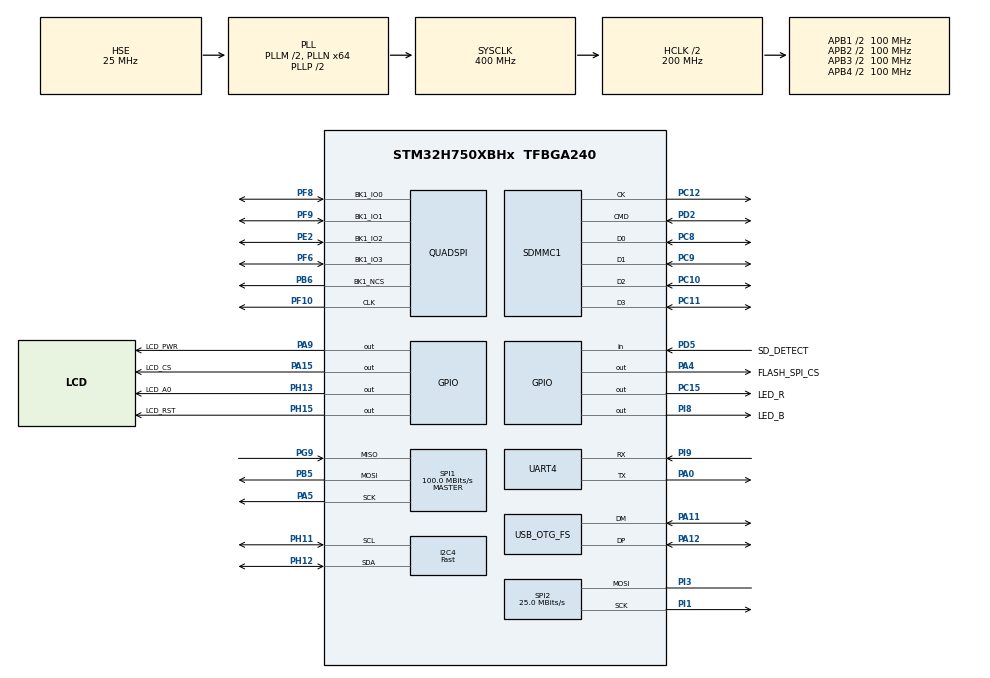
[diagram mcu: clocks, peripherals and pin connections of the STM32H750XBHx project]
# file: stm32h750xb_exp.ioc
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ADC3.Channel-0\#ChannelRegularConversion=ADC_CHANNEL_TEMPSENSOR
ADC3.NbrOfConversionFlag=1
ADC3.OffsetNumber-0\#ChannelRegularConversion=ADC_OFFSET_NONE
ADC3.OffsetSignedSaturation-0\#ChannelRegularConversion=DISABLE
ADC3.Rank-0\#ChannelRegularConversion=1
ADC3.SamplingTime-0\#ChannelRegularConversion=ADC_SAMPLETIME_1CYCLE_5
CORTEX_M7.CPU_DCache=Disabled
CORTEX_M7.CPU_ICache=Disabled
DMA2D.ColorMode=DMA2D_OUTPUT_RGB565
I2C4.CustomTiming=Disabled
I2C4.I2C_Speed_Mode=I2C_Fast
I2C4.Timing=0x009034B6
JPEG.JPEG_RGB_FORMAT=JPEG_RGB565
Mcu.Family=STM32H7
Mcu.Name=STM32H750XBHx
Mcu.Package=TFBGA240
NVIC.PriorityGroup=NVIC_PRIORITYGROUP_4
PA0.GPIO_Speed=GPIO_SPEED_FREQ_VERY_HIGH
PA0.Mode=Asynchronous
PA0.Signal=UART4_TX
PA11.GPIO_Speed=GPIO_SPEED_FREQ_VERY_HIGH
PA11.Mode=Device_Only
PA11.Signal=USB_OTG_FS_DM
PA12.GPIO_Speed=GPIO_SPEED_FREQ_VERY_HIGH
PA12.Mode=Device_Only
PA12.Signal=USB_OTG_FS_DP
PA13\ (JTMS/SWDIO).Mode=Serial_Wire
PA13\ (JTMS/SWDIO).Signal=DEBUG_JTMS-SWDIO
PA14\ (JTCK/SWCLK).Mode=Serial_Wire
PA14\ (JTCK/SWCLK).Signal=DEBUG_JTCK-SWCLK
PA15\ (JTDI).GPIO_Label=LCD_CS
PA15\ (JTDI).GPIO_Speed=GPIO_SPEED_FREQ_HIGH
PA15\ (JTDI).PinState=GPIO_PIN_SET
PA15\ (JTDI).Signal=GPIO_Output
PA4.GPIO_Label=FLASH_SPI_CS
PA4.PinState=GPIO_PIN_SET
PA4.Signal=GPIO_Output
PA5.GPIO_Speed=GPIO_SPEED_FREQ_VERY_HIGH
PA5.Mode=Full_Duplex_Master
PA5.Signal=SPI1_SCK
PA9.GPIO_Label=LCD_PWR
PA9.Signal=GPIO_Output
PB5.GPIO_Speed=GPIO_SPEED_FREQ_VERY_HIGH
PB5.Mode=Full_Duplex_Master
PB5.Signal=SPI1_MOSI
PB6.Mode=Single Bank 1
PB6.Signal=QUADSPI_BK1_NCS
PC10.Mode=SD_4_bits_Wide_bus
PC10.Signal=SDMMC1_D2
PC11.Mode=SD_4_bits_Wide_bus
PC11.Signal=SDMMC1_D3
PC12.Mode=SD_4_bits_Wide_bus
PC12.Signal=SDMMC1_CK
PC14-OSC32_IN\ (OSC32_IN).Mode=LSE-External-Clock-Source
PC14-OSC32_IN\ (OSC32_IN).Signal=RCC_OSC32_IN
PC15-OSC32_OUT\ (OSC32_OUT).GPIO_Label=LED_R
PC15-OSC32_OUT\ (OSC32_OUT).GPIO_ModeDefaultOutputPP=GPIO_MODE_OUTPUT_PP
PC15-OSC32_OUT\ (OSC32_OUT).GPIO_PuPd=GPIO_PULLUP
PC15-OSC32_OUT\ (OSC32_OUT).PinState=GPIO_PIN_SET
PC15-OSC32_OUT\ (OSC32_OUT).Signal=GPIO_Output
PC8.Mode=SD_4_bits_Wide_bus
PC8.Signal=SDMMC1_D0
PC9.Mode=SD_4_bits_Wide_bus
PC9.Signal=SDMMC1_D1
PD2.Mode=SD_4_bits_Wide_bus
PD2.Signal=SDMMC1_CMD
PD5.GPIO_Label=SD_DETECT
PD5.GPIO_PuPd=GPIO_PULLUP
PD5.Signal=GPIO_Input
PE2.Mode=Single Bank 1
PE2.Signal=QUADSPI_BK1_IO2
PF10.Mode=Single Bank 1
PF10.Signal=QUADSPI_CLK
PF6.Mode=Single Bank 1
PF6.Signal=QUADSPI_BK1_IO3
PF8.Mode=Single Bank 1
PF8.Signal=QUADSPI_BK1_IO0
PF9.Mode=Single Bank 1
PF9.Signal=QUADSPI_BK1_IO1
PG9.GPIO_Speed=GPIO_SPEED_FREQ_VERY_HIGH
PG9.Mode=Full_Duplex_Master
PG9.Signal=SPI1_MISO
PH0-OSC_IN\ (PH0).Mode=HSE-External-Oscillator
PH0-OSC_IN\ (PH0).Signal=RCC_OSC_IN
PH1-OSC_OUT\ (PH1).Mode=HSE-External-Oscillator
PH1-OSC_OUT\ (PH1).Signal=RCC_OSC_OUT
PH11.GPIO_Pu=GPIO_PULLUP
PH11.GPIO_Speed=GPIO_SPEED_FREQ_VERY_HIGH
PH11.Mode=I2C
PH11.Signal=I2C4_SCL
PH12.GPIO_Pu=GPIO_PULLUP
PH12.GPIO_Speed=GPIO_SPEED_FREQ_VERY_HIGH
PH12.Mode=I2C
PH12.Signal=I2C4_SDA
PH13.GPIO_Label=LCD_A0
PH13.GPIO_Speed=GPIO_SPEED_FREQ_VERY_HIGH
PH13.PinState=GPIO_PIN_SET
PH13.Signal=GPIO_Output
PH15.GPIO_Label=LCD_RST
PH15.PinState=GPIO_PIN_SET
PH15.Signal=GPIO_Output
PI1.GPIO_Speed=GPIO_SPEED_FREQ_VERY_HIGH
PI1.Mode=Simplex_Bidirectional_Master
PI1.Signal=SPI2_SCK
PI3.GPIO_Speed=GPIO_SPEED_FREQ_VERY_HIGH
PI3.Mode=Simplex_Bidirectional_Master
PI3.Signal=SPI2_MOSI
PI8.GPIO_Label=LED_B
PI8.GPIO_PuPd=GPIO_PULLUP
PI8.PinState=GPIO_PIN_SET
PI8.Signal=GPIO_Output
PI9.GPIO_Speed=GPIO_SPEED_FREQ_VERY_HIGH
PI9.Mode=Asynchronous
PI9.Signal=UART4_RX
ProjectManager.HeapSize=0x400
ProjectManager.StackSize=0x400
ProjectManager.TargetToolchain=Makefile
RCC.ADCCLockSelection=RCC_ADCCLKSOURCE_PLL3
RCC.ADCFreq_Value=75000000
RCC.APB1Freq_Value=100000000
RCC.APB2Freq_Value=100000000
RCC.APB3Freq_Value=100000000
RCC.APB4Freq_Value=100000000
RCC.CortexFreq_Value=400000000
RCC.D1PPRE=RCC_APB3_DIV2
RCC.D2PPRE1=RCC_APB1_DIV2
RCC.D2PPRE2=RCC_APB2_DIV2
RCC.D3PPRE=RCC_APB4_DIV2
RCC.DIVM1=2
RCC.DIVM2=5
RCC.DIVM3=2
RCC.DIVN1=64
RCC.DIVN2=32
RCC.DIVN3=12
RCC.DIVQ1=4
RCC.DIVQ2=1
RCC.DIVR1=20
RCC.DIVR2=1
RCC.FLatency=FLASH_LATENCY_2
RCC.HCLKFreq_Value=200000000
RCC.HPRE=RCC_HCLK_DIV2
RCC.HSE_Timout=1000
RCC.PLL2FRACN=0
RCC.PLL3FRACN=0
RCC.PLLFRACN=0
RCC.PLLSourceVirtual=RCC_PLLSOURCE_HSE
RCC.SYSCLKFreq_VALUE=400000000
RCC.SYSCLKSource=RCC_SYSCLKSOURCE_PLLCLK
RCC.USBCLockSelection=RCC_USBCLKSOURCE_HSI48
RCC.USBFreq_Value=48000000
SPI1.BaudRatePrescaler=SPI_BAUDRATEPRESCALER_2
SPI1.CalculateBaudRate=100.0 MBits/s
SPI1.DataSize=SPI_DATASIZE_8BIT
SPI1.Direction=SPI_DIRECTION_2LINES
SPI1.FifoThreshold=SPI_FIFO_THRESHOLD_01DATA
SPI1.Mode=SPI_MODE_MASTER
SPI1.NSSPMode=SPI_NSS_PULSE_DISABLE
SPI1.VirtualType=VM_MASTER
SPI2.BaudRatePrescaler=SPI_BAUDRATEPRESCALER_8
SPI2.CalculateBaudRate=25.0 MBits/s
SPI2.DataSize=SPI_DATASIZE_8BIT
SPI2.Direction=SPI_DIRECTION_1LINE
SPI2.FifoThreshold=SPI_FIFO_THRESHOLD_01DATA
SPI2.Mode=SPI_MODE_MASTER
SPI2.NSSPMode=SPI_NSS_PULSE_DISABLE
SPI2.VirtualType=VM_MASTER
UART4.FIFOMode=FIFOMODE_DISABLE
USB_OTG_FS.VirtualMode=Device_Only
VP_ADC3_TempSens_Input.Mode=IN-TempSens
VP_DMA2D_VS_DMA2D.Mode=DMA2D_Activate
VP_JPEG_VS_JPEG.Mode=JPEG_Activate
board=custom

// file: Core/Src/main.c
/* USER CODE BEGIN Header */
/**
  ******************************************************************************
  * @file           : main.c
  * @brief          : Main program body
  ******************************************************************************
  * @attention
  *
  * <h2><center>&copy; Copyright (c) 2023 STMicroelectronics.
  * All rights reserved.</center></h2>
  *
  * This software component is licensed by ST under Ultimate Liberty license
  * SLA0044, the "License"; You may not use this file except in compliance with
  * the License. You may obtain a copy of the License at:
  *                             www.st.com/SLA0044
  *
  ******************************************************************************
  */
/* USER CODE END Header */
#include "main.h"
#include "adc.h"
#include "dma2d.h"
#include "i2c.h"
#include "jpeg.h"
#include "quadspi.h"
#include "sdmmc.h"
#include "spi.h"
#include "usart.h"
#include "usb_otg.h"
#include "gpio.h"

/* USER CODE BEGIN Includes */
#include <stdio.h>
#include <string.h>
#include "led.h"
#include "dbg_output.h"
#include "st7735.h"
//#include "wireless.h"

/* USER CODE END Includes */

/* USER CODE BEGIN PM */

#define FLASH_CS_UNSELECT()   (FLASH_SPI_CS_GPIO_Port->BSRR = (FLASH_SPI_CS_Pin))
#define FLASH_CS_SELECT()     (FLASH_SPI_CS_GPIO_Port->BSRR = (FLASH_SPI_CS_Pin << 16))

/* USER CODE END PM */

/* USER CODE BEGIN PV */

uint8_t data[10] = {0x0};
/* USER CODE END PV */

void SystemClock_Config(void);

int main(void)
{

  /* MCU Configuration--------------------------------------------------------*/

  /* Reset of all peripherals, Initializes the Flash interface and the Systick. */
  HAL_Init();

  /* Configure the system clock */
  SystemClock_Config();

  /* Initialize all configured peripherals */
  MX_GPIO_Init();
  MX_ADC3_Init();
  MX_I2C4_Init();
  MX_SPI2_Init();
  MX_UART4_Init();
  MX_USB_OTG_FS_PCD_Init();
  MX_SDMMC1_SD_Init();
  MX_SPI1_Init();
  MX_DMA2D_Init();
  MX_QUADSPI_Init();
  MX_JPEG_Init();
  /* USER CODE BEGIN 2 */
  // wlan_sdio_enum();

  printf("DMA FCR:0x%08lx\n", DMA1_Stream0->FCR);
//   HAL_SPI_Transmit_DMA(&hspi2, "123", 3);
  printf("DMA FCR:0x%08lx\n", DMA1_Stream0->FCR);

  st7735_setup();

  /* USER CODE END 2 */

  /* Infinite loop */
  while (1)
  {

    /* USER CODE BEGIN 3 */
    uint32_t ts_begin = 0;

    led_blink(LED_COLOR_RED, 100);
    ts_begin = HAL_GetTick();
    st7735_draw();
    printf("T:%ld FPS:%ld\n", (HAL_GetTick() - ts_begin), (uint32_t)(1000/(HAL_GetTick() - ts_begin)));
  }
  /* USER CODE END 3 */
}

void SystemClock_Config(void)
{
  RCC_OscInitTypeDef RCC_OscInitStruct = {0};
  RCC_ClkInitTypeDef RCC_ClkInitStruct = {0};

  /** Supply configuration update enable
  */
  HAL_PWREx_ConfigSupply(PWR_LDO_SUPPLY);

  /** Configure the main internal regulator output voltage
  */
  __HAL_PWR_VOLTAGESCALING_CONFIG(PWR_REGULATOR_VOLTAGE_SCALE1);

  while(!__HAL_PWR_GET_FLAG(PWR_FLAG_VOSRDY)) {}

  /** Initializes the RCC Oscillators according to the specified parameters
  * in the RCC_OscInitTypeDef structure.
  */
  RCC_OscInitStruct.OscillatorType = RCC_OSCILLATORTYPE_HSI48|RCC_OSCILLATORTYPE_HSE;
  RCC_OscInitStruct.HSEState = RCC_HSE_ON;
  RCC_OscInitStruct.HSI48State = RCC_HSI48_ON;
  RCC_OscInitStruct.PLL.PLLState = RCC_PLL_ON;
  RCC_OscInitStruct.PLL.PLLSource = RCC_PLLSOURCE_HSE;
  RCC_OscInitStruct.PLL.PLLM = 2;
  RCC_OscInitStruct.PLL.PLLN = 64;
  RCC_OscInitStruct.PLL.PLLP = 2;
  RCC_OscInitStruct.PLL.PLLQ = 4;
  RCC_OscInitStruct.PLL.PLLR = 20;
  RCC_OscInitStruct.PLL.PLLRGE = RCC_PLL1VCIRANGE_3;
  RCC_OscInitStruct.PLL.PLLVCOSEL = RCC_PLL1VCOWIDE;
  RCC_OscInitStruct.PLL.PLLFRACN = 0;
  if (HAL_RCC_OscConfig(&RCC_OscInitStruct) != HAL_OK)
  {
    Error_Handler();
  }

  /** Initializes the CPU, AHB and APB buses clocks
  */
  RCC_ClkInitStruct.ClockType = RCC_CLOCKTYPE_HCLK|RCC_CLOCKTYPE_SYSCLK
                              |RCC_CLOCKTYPE_PCLK1|RCC_CLOCKTYPE_PCLK2
                              |RCC_CLOCKTYPE_D3PCLK1|RCC_CLOCKTYPE_D1PCLK1;
  RCC_ClkInitStruct.SYSCLKSource = RCC_SYSCLKSOURCE_PLLCLK;
  RCC_ClkInitStruct.SYSCLKDivider = RCC_SYSCLK_DIV1;
  RCC_ClkInitStruct.AHBCLKDivider = RCC_HCLK_DIV2;
  RCC_ClkInitStruct.APB3CLKDivider = RCC_APB3_DIV2;
  RCC_ClkInitStruct.APB1CLKDivider = RCC_APB1_DIV2;
  RCC_ClkInitStruct.APB2CLKDivider = RCC_APB2_DIV2;
  RCC_ClkInitStruct.APB4CLKDivider = RCC_APB4_DIV2;

  if (HAL_RCC_ClockConfig(&RCC_ClkInitStruct, FLASH_LATENCY_2) != HAL_OK)
  {
    Error_Handler();
  }
}

void Error_Handler(void)
{
}
